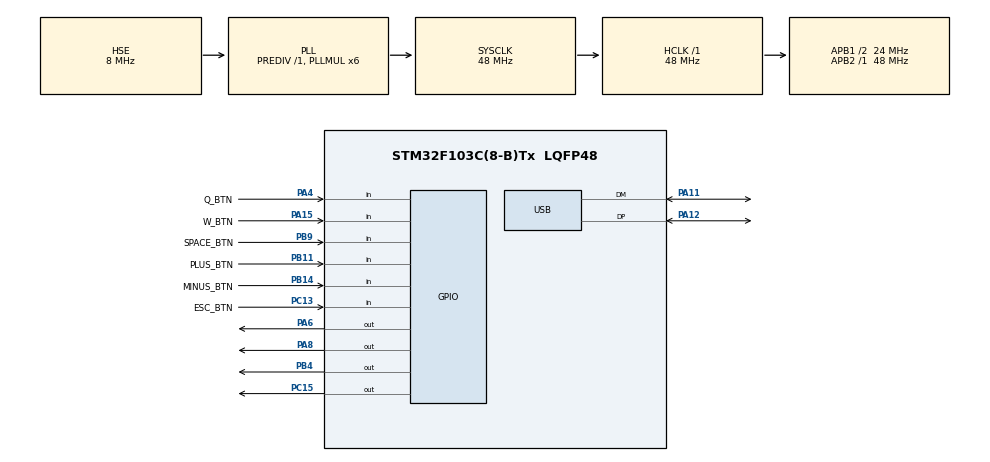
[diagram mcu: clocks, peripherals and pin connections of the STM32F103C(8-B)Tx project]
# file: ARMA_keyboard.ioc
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Mcu.Family=STM32F1
Mcu.Name=STM32F103C(8-B)Tx
Mcu.Package=LQFP48
NVIC.PriorityGroup=NVIC_PRIORITYGROUP_4
NVIC.USB_LP_CAN1_RX0_IRQn=true\:0\:0\:false\:false\:true\:false\:true
PA11.Mode=Device
PA11.Signal=USB_DM
PA12.Mode=Device
PA12.Signal=USB_DP
PA13.Mode=Serial_Wire
PA13.Signal=SYS_JTMS-SWDIO
PA14.Mode=Serial_Wire
PA14.Signal=SYS_JTCK-SWCLK
PA15.GPIO_Label=W_BTN
PA15.GPIO_PuPd=GPIO_PULLUP
PA15.Signal=GPIO_Input
PA4.GPIO_Label=Q_BTN
PA4.GPIO_PuPd=GPIO_PULLUP
PA4.Signal=GPIO_Input
PA6.GPIO_PuPd=GPIO_NOPULL
PA6.Signal=GPIO_Output
PA8.Signal=GPIO_Output
PB11.GPIO_Label=PLUS_BTN
PB11.GPIO_PuPd=GPIO_PULLDOWN
PB11.Signal=GPIO_Input
PB14.GPIO_Label=MINUS_BTN
PB14.GPIO_PuPd=GPIO_PULLUP
PB14.Signal=GPIO_Input
PB4.Signal=GPIO_Output
PB9.GPIO_Label=SPACE_BTN
PB9.GPIO_PuPd=GPIO_PULLUP
PB9.Signal=GPIO_Input
PC13-TAMPER-RTC.GPIO_Label=ESC_BTN
PC13-TAMPER-RTC.GPIO_PuPd=GPIO_PULLUP
PC13-TAMPER-RTC.Signal=GPIO_Input
PC15-OSC32_OUT.Signal=GPIO_Output
PD0-OSC_IN.Mode=HSE-External-Oscillator
PD0-OSC_IN.Signal=RCC_OSC_IN
PD1-OSC_OUT.Mode=HSE-External-Oscillator
PD1-OSC_OUT.Signal=RCC_OSC_OUT
ProjectManager.HeapSize=0x200
ProjectManager.StackSize=0x400
ProjectManager.TargetToolchain=STM32CubeIDE
RCC.AHBFreq_Value=48000000
RCC.APB1CLKDivider=RCC_HCLK_DIV2
RCC.APB1Freq_Value=24000000
RCC.APB1TimFreq_Value=48000000
RCC.APB2Freq_Value=48000000
RCC.APB2TimFreq_Value=48000000
RCC.HCLKFreq_Value=48000000
RCC.PLLMUL=RCC_PLL_MUL6
RCC.SYSCLKFreq_VALUE=48000000
RCC.SYSCLKSource=RCC_SYSCLKSOURCE_PLLCLK
RCC.USBFreq_Value=48000000
USB_DEVICE.CLASS_NAME_FS=HID
USB_DEVICE.MANUFACTURER_STRING=ARMA Keyboard
USB_DEVICE.PRODUCT_STRING_HID_FS=ARMA Keyboard
USB_DEVICE.VirtualMode=Hid
USB_DEVICE.VirtualModeFS=Hid_FS
VP_USB_DEVICE_VS_USB_DEVICE_HID_FS.Mode=HID_FS
board=custom

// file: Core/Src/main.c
/* USER CODE BEGIN Header */
/**
  ******************************************************************************
  * @file           : main.c
  * @brief          : Main program body
  ******************************************************************************
  * @attention
  *
  * <h2><center>&copy; Copyright (c) 2021 STMicroelectronics.
  * All rights reserved.</center></h2>
  *
  * This software component is licensed by ST under Ultimate Liberty license
  * SLA0044, the "License"; You may not use this file except in compliance with
  * the License. You may obtain a copy of the License at:
  *                             www.st.com/SLA0044
  *
  ******************************************************************************
  */
/* USER CODE END Header */
#include "main.h"
#include "usb_device.h"

/* USER CODE BEGIN Includes */
#include "usbd_hid.h"
/* USER CODE END Includes */

/* USER CODE BEGIN PTD */
typedef struct
{
	uint8_t MODIFIER;
	uint8_t RESERVED;
	uint8_t KEYCODE1;
	uint8_t KEYCODE2;
	uint8_t KEYCODE3;
	uint8_t KEYCODE4;
	uint8_t KEYCODE5;
	uint8_t KEYCODE6;
} keyboardHID;

keyboardHID keyboardhid = {0,0,0,0,0,0,0,0};

extern USBD_HandleTypeDef hUsbDeviceFS;
/* USER CODE END PTD */

/* USER CODE BEGIN PD */
#define W 0x1A
#define Q 0x14
#define PLUS 0x57
#define MINUS 0x56
#define ESC 0x29
#define SPACE 0x2C
/* USER CODE END PD */

/* USER CODE BEGIN PV */
uint8_t button_flag=0;
/* USER CODE END PV */

void SystemClock_Config(void);
static void MX_GPIO_Init(void);

int main(void)
{

  /* MCU Configuration--------------------------------------------------------*/

  /* Reset of all peripherals, Initializes the Flash interface and the Systick. */
  HAL_Init();

  /* Configure the system clock */
  SystemClock_Config();

  /* Initialize all configured peripherals */
  MX_GPIO_Init();
  MX_USB_DEVICE_Init();

  /* Infinite loop */
  /* USER CODE BEGIN WHILE */
  while (1)
  {
	  button_flag=0;
	  if (!(HAL_GPIO_ReadPin(GPIOA,W_BTN_Pin))) {keyboardhid.KEYCODE1 = W; button_flag=1;}
	  if (!(HAL_GPIO_ReadPin(GPIOA,Q_BTN_Pin))) {keyboardhid.KEYCODE2 = Q; button_flag=1;}
	  if ((HAL_GPIO_ReadPin(GPIOB,PLUS_BTN_Pin))) {keyboardhid.KEYCODE3 = PLUS; button_flag=1;}
	  if (!(HAL_GPIO_ReadPin(GPIOB,MINUS_BTN_Pin))) {keyboardhid.KEYCODE4 = MINUS; button_flag=1;}
	  if (!(HAL_GPIO_ReadPin(GPIOC,ESC_BTN_Pin))) {keyboardhid.KEYCODE5 = ESC; button_flag=1;}
	  if (!(HAL_GPIO_ReadPin(GPIOB,SPACE_BTN_Pin))) {keyboardhid.KEYCODE6 = SPACE; button_flag=1;}
	  if (button_flag==1)
	  {
		  USBD_HID_SendReport(&hUsbDeviceFS, &keyboardhid, sizeof (keyboardhid));
		  HAL_Delay (50);
		  button_flag=0;
	  }
	  else if (button_flag==0)
	  {
		  keyboardhid.KEYCODE1 = 0;
		  keyboardhid.KEYCODE2 = 0;
		  keyboardhid.KEYCODE3 = 0;
		  keyboardhid.KEYCODE4 = 0;
		  keyboardhid.KEYCODE5 = 0;
		  keyboardhid.KEYCODE6 = 0;
		  USBD_HID_SendReport(&hUsbDeviceFS, &keyboardhid, sizeof (keyboardhid));
		  HAL_Delay (50);
	  }

    /* USER CODE END WHILE */

  }
}

void SystemClock_Config(void)
{
  RCC_OscInitTypeDef RCC_OscInitStruct = {0};
  RCC_ClkInitTypeDef RCC_ClkInitStruct = {0};
  RCC_PeriphCLKInitTypeDef PeriphClkInit = {0};

  /** Initializes the RCC Oscillators according to the specified parameters
  * in the RCC_OscInitTypeDef structure.
  */
  RCC_OscInitStruct.OscillatorType = RCC_OSCILLATORTYPE_HSE;
  RCC_OscInitStruct.HSEState = RCC_HSE_ON;
  RCC_OscInitStruct.HSEPredivValue = RCC_HSE_PREDIV_DIV1;
  RCC_OscInitStruct.HSIState = RCC_HSI_ON;
  RCC_OscInitStruct.PLL.PLLState = RCC_PLL_ON;
  RCC_OscInitStruct.PLL.PLLSource = RCC_PLLSOURCE_HSE;
  RCC_OscInitStruct.PLL.PLLMUL = RCC_PLL_MUL6;
  if (HAL_RCC_OscConfig(&RCC_OscInitStruct) != HAL_OK)
  {
    Error_Handler();
  }
  /** Initializes the CPU, AHB and APB buses clocks
  */
  RCC_ClkInitStruct.ClockType = RCC_CLOCKTYPE_HCLK|RCC_CLOCKTYPE_SYSCLK
                              |RCC_CLOCKTYPE_PCLK1|RCC_CLOCKTYPE_PCLK2;
  RCC_ClkInitStruct.SYSCLKSource = RCC_SYSCLKSOURCE_PLLCLK;
  RCC_ClkInitStruct.AHBCLKDivider = RCC_SYSCLK_DIV1;
  RCC_ClkInitStruct.APB1CLKDivider = RCC_HCLK_DIV2;
  RCC_ClkInitStruct.APB2CLKDivider = RCC_HCLK_DIV1;

  if (HAL_RCC_ClockConfig(&RCC_ClkInitStruct, FLASH_LATENCY_1) != HAL_OK)
  {
    Error_Handler();
  }
  PeriphClkInit.PeriphClockSelection = RCC_PERIPHCLK_USB;
  PeriphClkInit.UsbClockSelection = RCC_USBCLKSOURCE_PLL;
  if (HAL_RCCEx_PeriphCLKConfig(&PeriphClkInit) != HAL_OK)
  {
    Error_Handler();
  }
}

static void MX_GPIO_Init(void)
{
  GPIO_InitTypeDef GPIO_InitStruct = {0};

  /* GPIO Ports Clock Enable */
  __HAL_RCC_GPIOC_CLK_ENABLE();
  __HAL_RCC_GPIOD_CLK_ENABLE();
  __HAL_RCC_GPIOA_CLK_ENABLE();
  __HAL_RCC_GPIOB_CLK_ENABLE();

  /*Configure GPIO pin Output Level */
  HAL_GPIO_WritePin(GPIOC, GPIO_PIN_15, GPIO_PIN_RESET);

  /*Configure GPIO pin Output Level */
  HAL_GPIO_WritePin(GPIOA, GPIO_PIN_6|GPIO_PIN_8, GPIO_PIN_RESET);

  /*Configure GPIO pin Output Level */
  HAL_GPIO_WritePin(GPIOB, GPIO_PIN_4, GPIO_PIN_RESET);

  /*Configure GPIO pin : ESC_BTN_Pin */
  GPIO_InitStruct.Pin = ESC_BTN_Pin;
  GPIO_InitStruct.Mode = GPIO_MODE_INPUT;
  GPIO_InitStruct.Pull = GPIO_PULLUP;
  HAL_GPIO_Init(ESC_BTN_GPIO_Port, &GPIO_InitStruct);

  /*Configure GPIO pin : PC15 */
  GPIO_InitStruct.Pin = GPIO_PIN_15;
  GPIO_InitStruct.Mode = GPIO_MODE_OUTPUT_PP;
  GPIO_InitStruct.Pull = GPIO_NOPULL;
  GPIO_InitStruct.Speed = GPIO_SPEED_FREQ_LOW;
  HAL_GPIO_Init(GPIOC, &GPIO_InitStruct);

  /*Configure GPIO pins : Q_BTN_Pin W_BTN_Pin */
  GPIO_InitStruct.Pin = Q_BTN_Pin|W_BTN_Pin;
  GPIO_InitStruct.Mode = GPIO_MODE_INPUT;
  GPIO_InitStruct.Pull = GPIO_PULLUP;
  HAL_GPIO_Init(GPIOA, &GPIO_InitStruct);

  /*Configure GPIO pins : PA6 PA8 */
  GPIO_InitStruct.Pin = GPIO_PIN_6|GPIO_PIN_8;
  GPIO_InitStruct.Mode = GPIO_MODE_OUTPUT_PP;
  GPIO_InitStruct.Pull = GPIO_NOPULL;
  GPIO_InitStruct.Speed = GPIO_SPEED_FREQ_LOW;
  HAL_GPIO_Init(GPIOA, &GPIO_InitStruct);

  /*Configure GPIO pin : PLUS_BTN_Pin */
  GPIO_InitStruct.Pin = PLUS_BTN_Pin;
  GPIO_InitStruct.Mode = GPIO_MODE_INPUT;
  GPIO_InitStruct.Pull = GPIO_PULLDOWN;
  HAL_GPIO_Init(PLUS_BTN_GPIO_Port, &GPIO_InitStruct);

  /*Configure GPIO pins : MINUS_BTN_Pin SPACE_BTN_Pin */
  GPIO_InitStruct.Pin = MINUS_BTN_Pin|SPACE_BTN_Pin;
  GPIO_InitStruct.Mode = GPIO_MODE_INPUT;
  GPIO_InitStruct.Pull = GPIO_PULLUP;
  HAL_GPIO_Init(GPIOB, &GPIO_InitStruct);

  /*Configure GPIO pin : PB4 */
  GPIO_InitStruct.Pin = GPIO_PIN_4;
  GPIO_InitStruct.Mode = GPIO_MODE_OUTPUT_PP;
  GPIO_InitStruct.Pull = GPIO_NOPULL;
  GPIO_InitStruct.Speed = GPIO_SPEED_FREQ_LOW;
  HAL_GPIO_Init(GPIOB, &GPIO_InitStruct);

}

void Error_Handler(void)
{
  __disable_irq();
  while (1)
  {
  }
}

/************************ (C) COPYRIGHT STMicroelectronics *****END OF FILE****/
